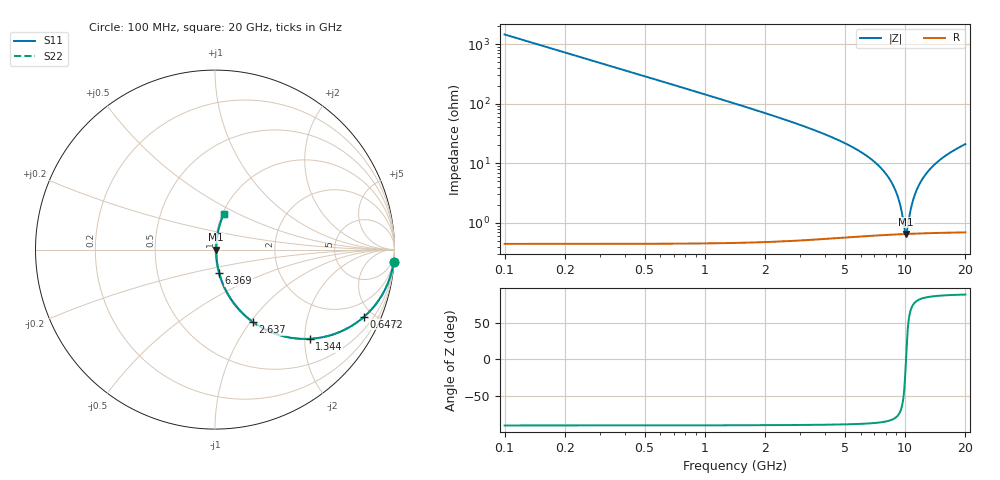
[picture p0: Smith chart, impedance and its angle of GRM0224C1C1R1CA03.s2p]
!Murata Part Number: GRM0224C1C1R1CA03
!These Parameters are Measured in Series Mode Connection
!Data Generated on Mar 30, 2021
!  o--ll--o
!Port1  Port2
!  o------o
!Operation Temp=25[degC], DC Bias Voltage=0[V]
!Freq. Start=100[MHz] Stop=20[GHz] 401[Steps]
# Hz S RI R 50
!Freq.(Hz) S11(Real) S11(Imag) S21(Real) S21(Imag) S12(Real) S12(Imag) S22(Real) S22(Imag)
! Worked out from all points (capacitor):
!   401 points, 100 MHz to 20 GHz, reference 50 ohm
!   read as one part in series: C = 1.1 pF near 199.5 MHz
!   lowest |Z| = 653 mohm at 10.1 GHz (marker M1)
!   series resonance near 10.1 GHz, so ESL is about 230 pH
!   S11 on the Smith chart (normalised r, x): 100 MHz: 1, -29; 647.2 MHz: 1.01, -4.45; 1.344 GHz: 1.01, -2.11; 2.637 GHz: 1.01, -1.02; 6.369 GHz: 1.01, -0.27; 20 GHz: 1.01, +0.42
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1e8  0.9952 -0.0688  0.00478 0.0688  0.00478 0.0688  0.9952 -0.0688
3.4875e8  0.9447 -0.2279  0.0553 0.2279  0.0553 0.2279  0.9447 -0.2279
6.4725e8  0.8316 -0.3732  0.1684 0.3732  0.1684 0.3732  0.8316 -0.3732
9.4575e8  0.6963 -0.4584  0.3037 0.4584  0.3037 0.4584  0.6963 -0.4584
1.34375e9  0.5277 -0.4971  0.4723 0.4971  0.4723 0.4971  0.5277 -0.4971
1.94075e9  0.3408 -0.4707  0.6592 0.4707  0.6592 0.4707  0.3408 -0.4707
2.63725e9  0.209 -0.4018  0.791 0.4018  0.791 0.4018  0.209 -0.4018
3.43325e9  0.125 -0.3237  0.875 0.3237  0.875 0.3237  0.125 -0.3237
6.3685e9  0.0239 -0.1322  0.9761 0.1322  0.9761 0.1322  0.0239 -0.1322
6.7665e9  0.0194 -0.1143  0.9806 0.1143  0.9806 0.1143  0.0194 -0.1143
8.01025e9  0.0106 -0.0655  0.9894 0.0655  0.9894 0.0655  0.0106 -0.0655
8.90575e9  0.00763 -0.0355  0.9924 0.0355  0.9924 0.0355  0.00763 -0.0355
9.453e9  0.00677 -0.0186  0.9932 0.0186  0.9932 0.0186  0.00677 -0.0186
1.005e10  0.00648 -0.0014  0.9935 0.0014  0.9935 0.0014  0.00648 -0.0014
1.009975e10  0.00648 -1.56e-05  0.9935 1.56e-05  0.9935 1.56e-05  0.00648 -1.56e-05
1.0249e10  0.00651 0.00411  0.9935 -0.00411  0.9935 -0.00411  0.00651 0.00411
1.07465e10  0.00685 0.0174  0.9932 -0.0174  0.9932 -0.0174  0.00685 0.0174
1.129375e10  0.00757 0.0314  0.9924 -0.0314  0.9924 -0.0314  0.00757 0.0314
1.218925e10  0.00947 0.053  0.9905 -0.053  0.9905 -0.053  0.00947 0.053
1.338325e10  0.0131 0.0796  0.9869 -0.0796  0.9869 -0.0796  0.0131 0.0796
1.67165e10  0.0282 0.1443  0.9718 -0.1443  0.9718 -0.1443  0.0282 0.1443
2e10  0.0482 0.1983  0.9518 -0.1983  0.9518 -0.1983  0.0482 0.1983
